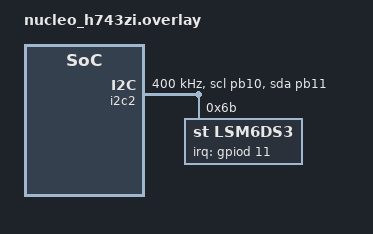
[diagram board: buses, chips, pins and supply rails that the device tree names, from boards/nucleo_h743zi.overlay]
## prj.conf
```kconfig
CONFIG_STDOUT_CONSOLE=y
CONFIG_I2C=y
CONFIG_SPI=y
CONFIG_SENSOR=y
CONFIG_LSM6DS3=y
CONFIG_LSM6DS3_TRIGGER_GLOBAL_THREAD=y
CONFIG_CBPRINTF_FP_SUPPORT=y
```

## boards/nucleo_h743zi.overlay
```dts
&i2c2 {
        pinctrl-0 = <&i2c2_scl_pb10 &i2c2_sda_pb11>;
        status = "okay";
        clock-frequency = <I2C_BITRATE_FAST>;

        lsm6ds3@6b {
                compatible = "st,lsm6ds3";
                reg = <0x6b>;
                irq-gpios = <&gpiod 11 GPIO_ACTIVE_HIGH>;
                label = "LSM6DS3";
        };
};
```

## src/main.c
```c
/*
 * Copyright (c) 2018 STMicroelectronics
 *
 * SPDX-License-Identifier: Apache-2.0
 */

#include <device.h>
#include <drivers/sensor.h>
#include <stdio.h>
#include <sys/util.h>
#include <zephyr.h>

static inline float out_ev (struct sensor_value *val) { return (val->val1 + (float)val->val2 / 1000000); }

static int print_samples;
static int lsm6dsl_trig_cnt;

static struct sensor_value accel_x_out, accel_y_out, accel_z_out;
static struct sensor_value gyro_x_out, gyro_y_out, gyro_z_out;
#if defined(CONFIG_LSM6DSL_EXT0_LIS2MDL)
static struct sensor_value magn_x_out, magn_y_out, magn_z_out;
#endif
#if defined(CONFIG_LSM6DSL_EXT0_LPS22HB)
static struct sensor_value press_out, temp_out;
#endif

#ifdef CONFIG_LSM6DS3_TRIGGER
static void lsm6dsl_trigger_handler (const struct device *dev, struct sensor_trigger *trig)
{
        static struct sensor_value accel_x, accel_y, accel_z;
        static struct sensor_value gyro_x, gyro_y, gyro_z;
#if defined(CONFIG_LSM6DSL_EXT0_LIS2MDL)
        static struct sensor_value magn_x, magn_y, magn_z;
#endif
#if defined(CONFIG_LSM6DSL_EXT0_LPS22HB)
        static struct sensor_value press, temp;
#endif
        lsm6dsl_trig_cnt++;

        sensor_sample_fetch_chan (dev, SENSOR_CHAN_ACCEL_XYZ);
        sensor_channel_get (dev, SENSOR_CHAN_ACCEL_X, &accel_x);
        sensor_channel_get (dev, SENSOR_CHAN_ACCEL_Y, &accel_y);
        sensor_channel_get (dev, SENSOR_CHAN_ACCEL_Z, &accel_z);

        /* lsm6dsl gyro */
        sensor_sample_fetch_chan (dev, SENSOR_CHAN_GYRO_XYZ);
        sensor_channel_get (dev, SENSOR_CHAN_GYRO_X, &gyro_x);
        sensor_channel_get (dev, SENSOR_CHAN_GYRO_Y, &gyro_y);
        sensor_channel_get (dev, SENSOR_CHAN_GYRO_Z, &gyro_z);

#if defined(CONFIG_LSM6DSL_EXT0_LIS2MDL)
        /* lsm6dsl external magn */
        sensor_sample_fetch_chan (dev, SENSOR_CHAN_MAGN_XYZ);
        sensor_channel_get (dev, SENSOR_CHAN_MAGN_X, &magn_x);
        sensor_channel_get (dev, SENSOR_CHAN_MAGN_Y, &magn_y);
        sensor_channel_get (dev, SENSOR_CHAN_MAGN_Z, &magn_z);
#endif

#if defined(CONFIG_LSM6DSL_EXT0_LPS22HB)
        /* lsm6dsl external press/temp */
        sensor_sample_fetch_chan (dev, SENSOR_CHAN_PRESS);
        sensor_channel_get (dev, SENSOR_CHAN_PRESS, &press);

        sensor_sample_fetch_chan (dev, SENSOR_CHAN_AMBIENT_TEMP);
        sensor_channel_get (dev, SENSOR_CHAN_AMBIENT_TEMP, &temp);
#endif

        if (print_samples) {
                print_samples = 0;

                accel_x_out = accel_x;
                accel_y_out = accel_y;
                accel_z_out = accel_z;

                gyro_x_out = gyro_x;
                gyro_y_out = gyro_y;
                gyro_z_out = gyro_z;

#if defined(CONFIG_LSM6DSL_EXT0_LIS2MDL)
                magn_x_out = magn_x;
                magn_y_out = magn_y;
                magn_z_out = magn_z;
#endif

#if defined(CONFIG_LSM6DSL_EXT0_LPS22HB)
                press_out = press;
                temp_out = temp;
#endif
        }
}
#endif

void main (void)
{
        int cnt = 0;
        char out_str[64];
        struct sensor_value odr_attr;
        const struct device *lsm6dsl_dev = device_get_binding (DT_LABEL (DT_INST (0, st_lsm6ds3)));

        if (lsm6dsl_dev == NULL) {
                printk ("Could not get LSM6DSL device\n");
                return;
        }

        /* set accel/gyro sampling frequency to 104 Hz */
        odr_attr.val1 = 104;
        odr_attr.val2 = 0;

        if (sensor_attr_set (lsm6dsl_dev, SENSOR_CHAN_ACCEL_XYZ, SENSOR_ATTR_SAMPLING_FREQUENCY, &odr_attr) < 0) {
                printk ("Cannot set sampling frequency for accelerometer.\n");
                return;
        }

        if (sensor_attr_set (lsm6dsl_dev, SENSOR_CHAN_GYRO_XYZ, SENSOR_ATTR_SAMPLING_FREQUENCY, &odr_attr) < 0) {
                printk ("Cannot set sampling frequency for gyro.\n");
                return;
        }

#ifdef CONFIG_LSM6DS3_TRIGGER
        struct sensor_trigger trig;

        trig.type = SENSOR_TRIG_DATA_READY;
        trig.chan = SENSOR_CHAN_ACCEL_XYZ;

        if (sensor_trigger_set (lsm6dsl_dev, &trig, lsm6dsl_trigger_handler) != 0) {
                printk ("Could not set sensor type and channel\n");
                return;
        }
#endif

        if (sensor_sample_fetch (lsm6dsl_dev) < 0) {
                printk ("Sensor sample update error\n");
                return;
        }

        while (1) {
                /* Erase previous */
                printk ("\0033\014");
                printf ("LSM6DSL sensor samples:\n\n");

                /* lsm6dsl accel */
                sprintf (out_str, "accel x:%f ms/2 y:%f ms/2 z:%f ms/2", out_ev (&accel_x_out), out_ev (&accel_y_out), out_ev (&accel_z_out));
                printk ("%s\n", out_str);

                /* lsm6dsl gyro */
                sprintf (out_str, "gyro x:%f dps y:%f dps z:%f dps", out_ev (&gyro_x_out), out_ev (&gyro_y_out), out_ev (&gyro_z_out));
                printk ("%s\n", out_str);

#if defined(CONFIG_LSM6DSL_EXT0_LIS2MDL)
                /* lsm6dsl external magn */
                sprintf (out_str, "magn x:%f gauss y:%f gauss z:%f gauss", out_ev (&magn_x_out), out_ev (&magn_y_out), out_ev (&magn_z_out));
                printk ("%s\n", out_str);
#endif

#if defined(CONFIG_LSM6DSL_EXT0_LPS22HB)
                /* lsm6dsl external press/temp */
                sprintf (out_str, "press: %f kPa - temp: %f deg", out_ev (&press_out), out_ev (&temp_out));
                printk ("%s\n", out_str);
#endif

                printk ("loop:%d trig_cnt:%d\n\n", ++cnt, lsm6dsl_trig_cnt);

                print_samples = 1;
                k_sleep (K_MSEC (2000));
        }
}
```
